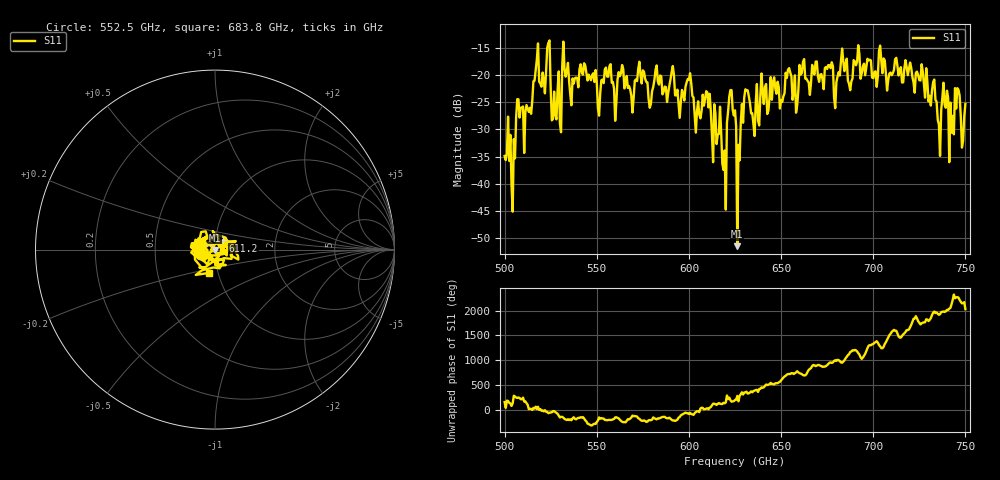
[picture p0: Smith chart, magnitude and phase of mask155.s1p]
!Created with skrf (http://scikit-rf.org).
# GHz S MA R 50.0
!freq magS11 angS11
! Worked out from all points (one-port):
!   401 points, 500 GHz to 750 GHz, reference 50 ohm
!   lowest |S11| = -51.6 dB at 626.2 GHz (marker M1), VSWR 1.01, Z = 50.1 - j0.254 ohm
!   |S11| at or under -10 dB: start of sweep to end of sweep
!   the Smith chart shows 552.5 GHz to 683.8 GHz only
!   S11 on the Smith chart (normalised r, x): 552.5 GHz: 0.84, -0.06; 611.2 GHz: 1.09, +0.11; 683.8 GHz: 0.90, -0.24
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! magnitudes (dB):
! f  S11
! 500 GHz  -34.9
! 504.4 GHz  -45.2
! 507.5 GHz  -24.4
! 511.9 GHz  -25.5
! 516.9 GHz  -19.1
! 523.8 GHz  -14.0
! 526.9 GHz  -23.0
! 531.2 GHz  -18.5
! 552.5 GHz  -20.9
! 562.5 GHz  -20.2
! 593.8 GHz  -22.6
! 600 GHz  -20.8
! 611.2 GHz  -23.4
! 618.8 GHz  -37.5
! 622.5 GHz  -22.7
! 625 GHz  -26.5
! 626.2 GHz  -51.6
! 631.2 GHz  -22.7
! 635 GHz  -29.0
! 656.2 GHz  -24.5
! 683.8 GHz  -17.4
! 687.5 GHz  -22.7
! 718.8 GHz  -20.0
! 735.6 GHz  -29.1
! 738.8 GHz  -25.5
! 742.5 GHz  -30.6
! 745.6 GHz  -22.3
! 750 GHz  -25.3
